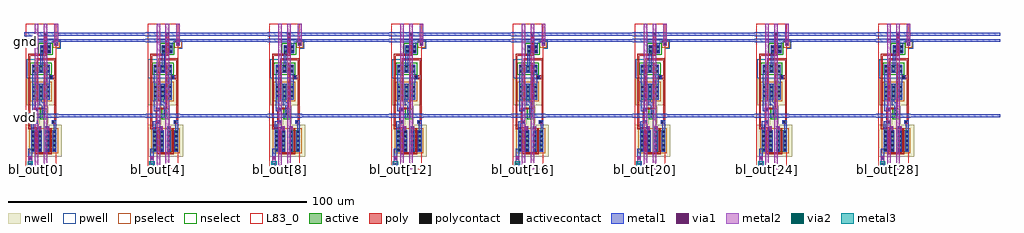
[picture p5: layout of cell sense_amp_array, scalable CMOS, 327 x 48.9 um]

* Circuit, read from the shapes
.subckt sense_amp_array bl_out[0] bl_out[12] bl_out[16] bl_out[20] bl_out[24] bl_out[28] bl_out[4] bl_out[8] br_out[0] br_out[12] br_out[16] br_out[20] br_out[24] br_out[28] br_out[4] br_out[8] data_out[0] data_out[1] data_out[2] data_out[3] data_out[4] data_out[5] data_out[6] data_out[7] gnd sclk vdd
M1 n1 n2 data_out[0] gnd nfet w=2.7u l=0.6u
M2 n2 data_out[0] n1 gnd nfet w=2.7u l=0.6u
M3 gnd sclk n1 gnd nfet w=2.7u l=0.6u
M4 n3 n4 data_out[1] gnd nfet w=2.7u l=0.6u
M5 n4 data_out[1] n3 gnd nfet w=2.7u l=0.6u
M6 gnd sclk n3 gnd nfet w=2.7u l=0.6u
M7 n5 n6 data_out[2] gnd nfet w=2.7u l=0.6u
M8 n6 data_out[2] n5 gnd nfet w=2.7u l=0.6u
M9 gnd sclk n5 gnd nfet w=2.7u l=0.6u
M10 n7 n8 data_out[3] gnd nfet w=2.7u l=0.6u
M11 n8 data_out[3] n7 gnd nfet w=2.7u l=0.6u
M12 gnd sclk n7 gnd nfet w=2.7u l=0.6u
M13 n9 n10 data_out[4] gnd nfet w=2.7u l=0.6u
M14 n10 data_out[4] n9 gnd nfet w=2.7u l=0.6u
M15 gnd sclk n9 gnd nfet w=2.7u l=0.6u
M16 n11 n12 data_out[5] gnd nfet w=2.7u l=0.6u
M17 n12 data_out[5] n11 gnd nfet w=2.7u l=0.6u
M18 gnd sclk n11 gnd nfet w=2.7u l=0.6u
M19 n13 n14 data_out[6] gnd nfet w=2.7u l=0.6u
M20 n14 data_out[6] n13 gnd nfet w=2.7u l=0.6u
M21 gnd sclk n13 gnd nfet w=2.7u l=0.6u
M22 n15 n16 data_out[7] gnd nfet w=2.7u l=0.6u
M23 n16 data_out[7] n15 gnd nfet w=2.7u l=0.6u
M24 gnd sclk n15 gnd nfet w=2.7u l=0.6u
M25 bl_out[0] sclk data_out[0] vdd pfet w=7.2u l=0.6u
M26 vdd n2 data_out[0] vdd pfet w=5.4u l=0.6u
M27 n2 data_out[0] vdd vdd pfet w=5.4u l=0.6u
M28 n2 sclk br_out[0] vdd pfet w=7.2u l=0.6u
M29 bl_out[4] sclk data_out[1] vdd pfet w=7.2u l=0.6u
M30 vdd n4 data_out[1] vdd pfet w=5.4u l=0.6u
M31 n4 data_out[1] vdd vdd pfet w=5.4u l=0.6u
M32 n4 sclk br_out[4] vdd pfet w=7.2u l=0.6u
M33 bl_out[8] sclk data_out[2] vdd pfet w=7.2u l=0.6u
M34 vdd n6 data_out[2] vdd pfet w=5.4u l=0.6u
M35 n6 data_out[2] vdd vdd pfet w=5.4u l=0.6u
M36 n6 sclk br_out[8] vdd pfet w=7.2u l=0.6u
M37 bl_out[12] sclk data_out[3] vdd pfet w=7.2u l=0.6u
M38 vdd n8 data_out[3] vdd pfet w=5.4u l=0.6u
M39 n8 data_out[3] vdd vdd pfet w=5.4u l=0.6u
M40 n8 sclk br_out[12] vdd pfet w=7.2u l=0.6u
M41 bl_out[16] sclk data_out[4] vdd pfet w=7.2u l=0.6u
M42 vdd n10 data_out[4] vdd pfet w=5.4u l=0.6u
M43 n10 data_out[4] vdd vdd pfet w=5.4u l=0.6u
M44 n10 sclk br_out[16] vdd pfet w=7.2u l=0.6u
M45 bl_out[20] sclk data_out[5] vdd pfet w=7.2u l=0.6u
M46 vdd n12 data_out[5] vdd pfet w=5.4u l=0.6u
M47 n12 data_out[5] vdd vdd pfet w=5.4u l=0.6u
M48 n12 sclk br_out[20] vdd pfet w=7.2u l=0.6u
M49 bl_out[24] sclk data_out[6] vdd pfet w=7.2u l=0.6u
M50 vdd n14 data_out[6] vdd pfet w=5.4u l=0.6u
M51 n14 data_out[6] vdd vdd pfet w=5.4u l=0.6u
M52 n14 sclk br_out[24] vdd pfet w=7.2u l=0.6u
M53 bl_out[28] sclk data_out[7] vdd pfet w=7.2u l=0.6u
M54 vdd n16 data_out[7] vdd pfet w=5.4u l=0.6u
M55 n16 data_out[7] vdd vdd pfet w=5.4u l=0.6u
M56 n16 sclk br_out[28] vdd pfet w=7.2u l=0.6u
.ends

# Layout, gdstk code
import gdstk
lib = gdstk.Library(unit=1e-6, precision=1e-09)
def R(c, l, rs):  # rectangles x0, y0, x1, y1
    for r in rs: c.add(gdstk.rectangle(r[:2], r[2:], *l))
def A(c, l, x, y, w, h, nx, ny, dx, dy):  # array of equal rectangles
    R(c, l, [(x+i*dx, y+j*dy, x+i*dx+w, y+j*dy+h) for i in range(nx) for j in range(ny)])
pwell = (41, 0)
nwell = (42, 0)
active = (43, 0)
pselect = (44, 0)
nselect = (45, 0)
poly = (46, 0)
polycontact = (47, 0)
activecontact = (48, 0)
metal1 = (49, 0)
via1 = (50, 0)
metal2 = (51, 0)
via2 = (61, 0)
metal3 = (62, 0)
L83_0 = (83, 0)

sense_amp = lib.new_cell('sense_amp')
R(sense_amp, pwell, [(0.3,30.6,9.9,36.9), (3,36.9,9.9,37.2), (3,37.2,10.2,40.5), (3,40.5,11.7,43.5)])
R(sense_amp, nwell, [(0,4.2,12,15), (4.5,15,7.5,21.6), (0.3,21.6,9.9,30.6)])
R(sense_amp, active, [(1.8,6,5.4,13.2), (6.6,6,10.2,13.2), (5.4,17.4,6.6,19.8), (2.1,23.4,8.1,28.8), (2.1,32.4,8.1,35.1), (4.8,39,8.4,41.7), (9.6,41.4,10.8,42.6)])
R(sense_amp, pselect, [(1.2,5.4,10.8,13.8), (1.5,22.8,8.7,29.4), (9,40.8,11.4,43.2)])
R(sense_amp, nselect, [(4.8,16.8,7.2,20.4), (1.5,31.8,8.7,35.7), (4.2,38.4,9,42.3)])
R(sense_amp, poly, [(3.3,5.1,8.7,5.7), (3.3,5.7,3.9,13.5), (8.1,5.7,8.7,13.8), (0.9,13.5,3.9,14.1), (0.9,14.1,1.5,38.1), (2.7,15.3,3.9,16.5), (8.7,15.3,10.2,16.5), (2.7,16.5,3.3,19.5), (9.6,16.5,10.2,30.3), (2.7,19.5,3.9,20.1), (2.7,20.1,6.6,20.7), (6,20.7,6.6,35.7), (3.6,22.8,4.2,36.6), (7.8,30.3,10.2,31.5), (9.6,31.5,10.2,36.6), (3.6,36.6,10.2,37.2), (0.9,38.1,6.9,38.7), (6.3,38.7,6.9,44.7), (6,44.7,7.2,45.9)])
R(sense_amp, polycontact, [(3,15.6,3.6,16.2), (9,15.6,9.6,16.2), (3,19.8,3.6,20.4), (8.1,30.6,8.7,31.2), (6.3,45,6.9,45.6)])
A(sense_amp, activecontact, 2.1, 6.3, 0.6, 0.6, 4, 5, 2.4, 1.5)
A(sense_amp, activecontact, 2.4, 24.3, 0.6, 0.6, 3, 3, 2.4, 1.5)
A(sense_amp, activecontact, 2.4, 32.7, 0.6, 0.6, 3, 2, 2.4, 1.5)
R(sense_amp, activecontact, [(5.7,18.3,6.3,18.9), (5.1,39.3,5.7,39.9), (7.5,39.3,8.1,39.9), (5.1,40.8,5.7,41.4), (7.5,40.8,8.1,41.4), (9.9,41.7,10.5,42.3)])
R(sense_amp, metal1, [(0.9,3.3,2.1,6), (0.9,6,3,6.9), (4.2,6,5.4,13.2), (6.6,6,7.8,14.4), (9,6,10.2,13.2), (1.8,6.9,3,13.2), (1.8,13.2,2.7,15.3), (3.9,13.2,5.1,14.4), (9.3,13.2,10.2,15.3), (1.8,15.3,3.9,16.2), (8.7,15.3,10.2,16.5), (2.7,16.2,3.9,16.5), (-0.6,17.4,10.8,18.6), (5.4,18.6,6.6,19.8), (2.1,19.5,3.9,20.7), (5.4,19.8,6.3,21.6), (2.1,20.7,3.3,35.1), (4.5,21.6,6.3,22.5), (4.5,22.5,5.4,23.4), (4.5,23.4,5.7,28.8), (6.9,23.4,8.1,30.3), (6.9,30.3,9,31.5), (6.9,31.5,8.1,35.1), (4.5,32.4,5.7,35.1), (4.8,35.1,5.7,39), (4.8,39,6,41.7), (7.2,39,8.4,42.6), (9.6,41.4,10.8,42.6), (-0.6,42.6,10.8,43.8), (-0.6,44.7,10.8,45.9)])
R(sense_amp, via1, [(1.2,3.6,1.8,4.2), (4.2,13.5,4.8,14.1), (6.9,13.5,7.5,14.1), (9.9,42.9,10.5,43.5)])
R(sense_amp, metal2, [(0.9,0,2.1,4.5), (3,0,4.2,13.2), (6,0,7.2,13.2), (3,13.2,5.1,14.4), (6,13.2,7.8,14.4), (3,14.4,4.2,48.9), (6,14.4,7.2,48.9), (9.6,41.4,10.8,48.9)])
R(sense_amp, via2, [(1.2,1.5,1.8,2.1)])
R(sense_amp, metal3, [(0.6,0.9,2.4,2.7)])
R(sense_amp, L83_0, [(0,0,10.2,48.9)])
sense_amp.add(gdstk.Label('BL', (3,0), layer=51, texttype=0))
sense_amp.add(gdstk.Label('BR', (6,0), layer=51, texttype=0))
sense_amp.add(gdstk.Label('Dout', (0.9,0.9), layer=62, texttype=0))
sense_amp.add(gdstk.Label('vdd', (0,17.4), layer=49, texttype=0))
sense_amp.add(gdstk.Label('SCLK', (0,44.7), layer=49, texttype=0))
sense_amp.add(gdstk.Label('gnd', (0,42.6), layer=49, texttype=0))

sense_amp_array = lib.new_cell('sense_amp_array')
R(sense_amp_array, metal1, [(0,17.55,326.4,18.45), (0,42.75,326.4,43.65), (0,44.85,326.4,45.75)])
sense_amp_array.add(gdstk.Reference(sense_amp, (0,0)))
sense_amp_array.add(gdstk.Reference(sense_amp, (40.8,0)))
sense_amp_array.add(gdstk.Reference(sense_amp, (81.6,0)))
sense_amp_array.add(gdstk.Reference(sense_amp, (122.4,0)))
sense_amp_array.add(gdstk.Reference(sense_amp, (163.2,0)))
sense_amp_array.add(gdstk.Reference(sense_amp, (204,0)))
sense_amp_array.add(gdstk.Reference(sense_amp, (244.8,0)))
sense_amp_array.add(gdstk.Reference(sense_amp, (285.6,0)))
sense_amp_array.add(gdstk.Label('bl_out[0]', (3.6,0), layer=51, texttype=0))
sense_amp_array.add(gdstk.Label('br_out[0]', (6.6,0), layer=51, texttype=0))
sense_amp_array.add(gdstk.Label('data_out[0]', (1.5,1.8), layer=51, texttype=0))
sense_amp_array.add(gdstk.Label('bl_out[4]', (44.4,0), layer=51, texttype=0))
sense_amp_array.add(gdstk.Label('br_out[4]', (47.4,0), layer=51, texttype=0))
sense_amp_array.add(gdstk.Label('data_out[1]', (42.3,1.8), layer=51, texttype=0))
sense_amp_array.add(gdstk.Label('bl_out[8]', (85.2,0), layer=51, texttype=0))
sense_amp_array.add(gdstk.Label('br_out[8]', (88.2,0), layer=51, texttype=0))
sense_amp_array.add(gdstk.Label('data_out[2]', (83.1,1.8), layer=51, texttype=0))
sense_amp_array.add(gdstk.Label('bl_out[12]', (126,0), layer=51, texttype=0))
sense_amp_array.add(gdstk.Label('br_out[12]', (129,0), layer=51, texttype=0))
sense_amp_array.add(gdstk.Label('data_out[3]', (123.9,1.8), layer=51, texttype=0))
sense_amp_array.add(gdstk.Label('bl_out[16]', (166.8,0), layer=51, texttype=0))
sense_amp_array.add(gdstk.Label('br_out[16]', (169.8,0), layer=51, texttype=0))
sense_amp_array.add(gdstk.Label('data_out[4]', (164.7,1.8), layer=51, texttype=0))
sense_amp_array.add(gdstk.Label('bl_out[20]', (207.6,0), layer=51, texttype=0))
sense_amp_array.add(gdstk.Label('br_out[20]', (210.6,0), layer=51, texttype=0))
sense_amp_array.add(gdstk.Label('data_out[5]', (205.5,1.8), layer=51, texttype=0))
sense_amp_array.add(gdstk.Label('bl_out[24]', (248.4,0), layer=51, texttype=0))
sense_amp_array.add(gdstk.Label('br_out[24]', (251.4,0), layer=51, texttype=0))
sense_amp_array.add(gdstk.Label('data_out[6]', (246.3,1.8), layer=51, texttype=0))
sense_amp_array.add(gdstk.Label('bl_out[28]', (289.2,0), layer=51, texttype=0))
sense_amp_array.add(gdstk.Label('br_out[28]', (292.2,0), layer=51, texttype=0))
sense_amp_array.add(gdstk.Label('data_out[7]', (287.1,1.8), layer=51, texttype=0))
sense_amp_array.add(gdstk.Label('vdd', (0,17.55), layer=49, texttype=0))
sense_amp_array.add(gdstk.Label('gnd', (0,42.75), layer=49, texttype=0))
sense_amp_array.add(gdstk.Label('sclk', (0,44.85), layer=49, texttype=0))

lib.write_gds('sense_amp_array.gds')
